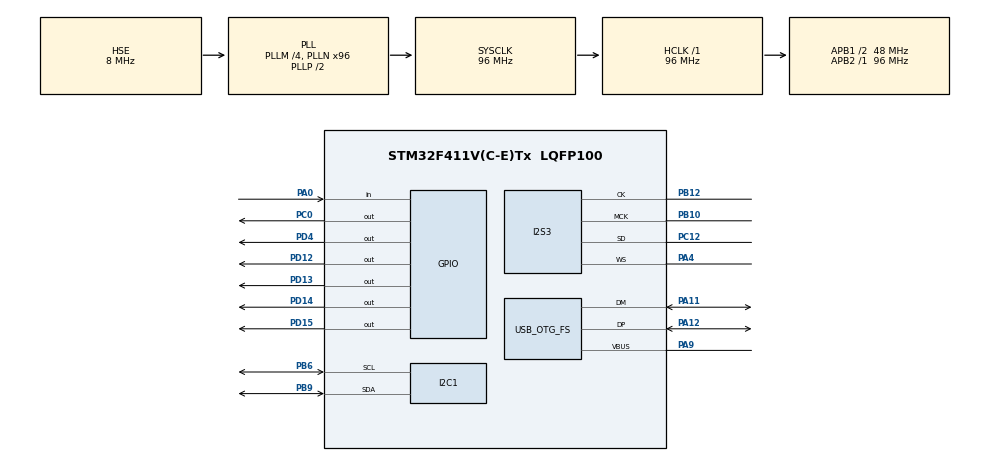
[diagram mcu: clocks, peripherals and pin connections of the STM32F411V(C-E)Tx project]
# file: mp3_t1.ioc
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Dma.Request0=SPI3_TX
Dma.SPI3_TX.0.Direction=DMA_MEMORY_TO_PERIPH
Dma.SPI3_TX.0.FIFOMode=DMA_FIFOMODE_ENABLE
Dma.SPI3_TX.0.FIFOThreshold=DMA_FIFO_THRESHOLD_FULL
Dma.SPI3_TX.0.Instance=DMA1_Stream5
Dma.SPI3_TX.0.MemBurst=DMA_MBURST_SINGLE
Dma.SPI3_TX.0.MemDataAlignment=DMA_MDATAALIGN_HALFWORD
Dma.SPI3_TX.0.MemInc=DMA_MINC_ENABLE
Dma.SPI3_TX.0.Mode=DMA_CIRCULAR
Dma.SPI3_TX.0.PeriphBurst=DMA_PBURST_SINGLE
Dma.SPI3_TX.0.PeriphDataAlignment=DMA_PDATAALIGN_HALFWORD
Dma.SPI3_TX.0.PeriphInc=DMA_PINC_DISABLE
Dma.SPI3_TX.0.Priority=DMA_PRIORITY_LOW
I2S3.AudioFreq=I2S_AUDIOFREQ_44K
I2S3.ErrorAudioFreq=-0.12 %
I2S3.FullDuplexMode=I2S_FULLDUPLEXMODE_DISABLE
I2S3.Instance=SPI$Index
I2S3.RealAudioFreq=43.945 KHz
I2S3.VirtualMode=I2S_MODE_MASTER
Mcu.Family=STM32F4
Mcu.Name=STM32F411V(C-E)Tx
Mcu.Package=LQFP100
NVIC.DMA1_Stream5_IRQn=true\:0\:0\:false\:false\:true\:false\:true
NVIC.OTG_FS_IRQn=true\:0\:0\:false\:false\:true\:false\:true
NVIC.PriorityGroup=NVIC_PRIORITYGROUP_4
PA0-WKUP.Signal=GPIO_Input
PA11.Mode=Host_Only
PA11.Signal=USB_OTG_FS_DM
PA12.Mode=Host_Only
PA12.Signal=USB_OTG_FS_DP
PA4.Mode=Half_Duplex_Master
PA4.Signal=I2S3_WS
PA9.Mode=Activate_VBUS
PA9.Signal=USB_OTG_FS_VBUS
PB10.Mode=Master_Clock_Activated
PB10.Signal=I2S3_MCK
PB12.Mode=Half_Duplex_Master
PB12.Signal=I2S3_CK
PB6.Mode=I2C
PB6.Signal=I2C1_SCL
PB9.Mode=I2C
PB9.Signal=I2C1_SDA
PC0.Signal=GPIO_Output
PC12.Mode=Half_Duplex_Master
PC12.Signal=I2S3_SD
PD12.Signal=GPIO_Output
PD13.Signal=GPIO_Output
PD14.Signal=GPIO_Output
PD15.Signal=GPIO_Output
PD4.Signal=GPIO_Output
PH0\ -\ OSC_IN.Mode=HSE-External-Oscillator
PH0\ -\ OSC_IN.Signal=RCC_OSC_IN
PH1\ -\ OSC_OUT.Mode=HSE-External-Oscillator
PH1\ -\ OSC_OUT.Signal=RCC_OSC_OUT
ProjectManager.HeapSize=0x2000
ProjectManager.StackSize=0x2000
ProjectManager.TargetToolchain=SW4STM32
RCC.48MHZClocksFreq_Value=48000000
RCC.AHBFreq_Value=96000000
RCC.APB1CLKDivider=RCC_HCLK_DIV2
RCC.APB1Freq_Value=48000000
RCC.APB1TimFreq_Value=96000000
RCC.APB2Freq_Value=96000000
RCC.APB2TimFreq_Value=96000000
RCC.CortexFreq_Value=96000000
RCC.HCLKFreq_Value=96000000
RCC.HSE_VALUE=8000000
RCC.HSI_VALUE=16000000
RCC.LSE_VALUE=32768
RCC.PLLI2SM=8
RCC.PLLI2SN=180
RCC.PLLI2SR=4
RCC.PLLM=4
RCC.PLLN=96
RCC.SYSCLKFreq_VALUE=96000000
RCC.SYSCLKSource=RCC_SYSCLKSOURCE_PLLCLK
RCC.VCOOutputFreq_Value=192000000
USB_HOST.USBH_HandleTypeDef=hUsbHostFS
USB_HOST.VirtualModeFS=Msc
USB_OTG_FS.VirtualMode=Host_Only
USB_OTG_FS.phy_itface=HCD_PHY_EMBEDDED
VP_FATFS_VS_USB.Mode=USB
VP_USB_HOST_VS_USB_HOST_MSC_FS.Mode=MSC_FS
board=custom

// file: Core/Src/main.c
/* USER CODE BEGIN Header */
/**
  ******************************************************************************
  * @file           : main.c
  * @brief          : Main program body
  ******************************************************************************
  * @attention
  *
  * <h2><center>&copy; Copyright (c) 2022 STMicroelectronics.
  * All rights reserved.</center></h2>
  *
  * This software component is licensed by ST under Ultimate Liberty license
  * SLA0044, the "License"; You may not use this file except in compliance with
  * the License. You may obtain a copy of the License at:
  *                             www.st.com/SLA0044
  *
  ******************************************************************************
  */
/* USER CODE END Header */
#include "main.h"
#include "fatfs.h"
#include "usb_host.h"

/* USER CODE BEGIN Includes */
#include "audioI2S.h"
#include "MY_CS43L22.h"
#include "wav_player.h"
/* USER CODE END Includes */

/* USER CODE BEGIN PTD */
extern ApplicationTypeDef Appli_state;
/* USER CODE END PTD */

/* USER CODE BEGIN PD */
#define FILE1 "ritika/music.wav"
/* USER CODE END PD */

I2C_HandleTypeDef hi2c1;

I2S_HandleTypeDef hi2s3;
DMA_HandleTypeDef hdma_spi3_tx;

void SystemClock_Config(void);
static void MX_GPIO_Init(void);
static void MX_DMA_Init(void);
static void MX_I2C1_Init(void);
static void MX_I2S3_Init(void);
void MX_USB_HOST_Process(void);

int main(void)
{

  /* MCU Configuration--------------------------------------------------------*/

  /* Reset of all peripherals, Initializes the Flash interface and the Systick. */
  HAL_Init();

  /* Configure the system clock */
  SystemClock_Config();

  /* Initialize all configured peripherals */
  MX_GPIO_Init();
  MX_DMA_Init();
  MX_I2C1_Init();
  MX_I2S3_Init();
  MX_FATFS_Init();
  MX_USB_HOST_Init();

  /* USER CODE BEGIN 2 */
  CS43_Init(hi2c1, MODE_I2S);
  CS43_SetVolume(150); /* 0 - 255 */
  CS43_Enable_RightLeft(CS43_RIGHT_LEFT);

  audioI2S_setHandle(&hi2s3);

  bool isSdCardMounted = 0;
  bool pauseResumeToggle = 0;
  /* USER CODE END 2 */

  /* Infinite loop */
  while (1)
  {
    MX_USB_HOST_Process();

    /* USER CODE BEGIN 3 */
    if(Appli_state == APPLICATION_START)
    {
    	HAL_GPIO_WritePin(GPIOD, GPIO_PIN_12, GPIO_PIN_RESET);
    }
    else if(Appli_state == APPLICATION_DISCONNECT)
    {
    	HAL_GPIO_WritePin(GPIOD, GPIO_PIN_12, GPIO_PIN_SET);
    }

    if(Appli_state == APPLICATION_READY)
    {
    	if(!isSdCardMounted)
    	{
    		f_mount(&USBHFatFS, (const TCHAR*)USBHPath, 0);
    		isSdCardMounted = 1;
    	}

    	if(HAL_GPIO_ReadPin(GPIOA, GPIO_PIN_0))
    	{
    	    HAL_GPIO_WritePin(GPIOD, GPIO_PIN_13, GPIO_PIN_SET);
    	    HAL_Delay(500);
    	    wavPlayer_fileSelect(FILE1);
    	    wavPlayer_play();

    	    while(wavPlayer_isFinished())
    	    {
        	    wavPlayer_process();
        	    if(HAL_GPIO_ReadPin(GPIOA, GPIO_PIN_0))
        	    {
        	    	pauseResumeToggle ^= 1;
        	    	if(pauseResumeToggle)
        	    	{
        	    		HAL_GPIO_WritePin(GPIOD, GPIO_PIN_14, GPIO_PIN_SET);
        	    		wavPlayer_pause();
        	    		HAL_Delay(200);
        	    	}
        	    	else
        	    	{
        	    		HAL_GPIO_WritePin(GPIOD, GPIO_PIN_14, GPIO_PIN_RESET);
        	    		HAL_Delay(1000);
        	    		if(HAL_GPIO_ReadPin(GPIOA, GPIO_PIN_0))
        	    		{
        	    			wavPlayer_stop();
        	    		}
        	    		else
        	    		{
        	    			wavPlayer_resume();
        	    		}
        	    	}
        	    }
    	    }
    	    HAL_GPIO_WritePin(GPIOD, GPIO_PIN_13, GPIO_PIN_RESET);
    	    HAL_Delay(1000);
    	}
    }
  }
  /* USER CODE END 3 */
}

void SystemClock_Config(void)
{
  RCC_OscInitTypeDef RCC_OscInitStruct = {0};
  RCC_ClkInitTypeDef RCC_ClkInitStruct = {0};

  /** Configure the main internal regulator output voltage
  */
  __HAL_RCC_PWR_CLK_ENABLE();
  __HAL_PWR_VOLTAGESCALING_CONFIG(PWR_REGULATOR_VOLTAGE_SCALE1);
  /** Initializes the RCC Oscillators according to the specified parameters
  * in the RCC_OscInitTypeDef structure.
  */
  RCC_OscInitStruct.OscillatorType = RCC_OSCILLATORTYPE_HSE;
  RCC_OscInitStruct.HSEState = RCC_HSE_ON;
  RCC_OscInitStruct.PLL.PLLState = RCC_PLL_ON;
  RCC_OscInitStruct.PLL.PLLSource = RCC_PLLSOURCE_HSE;
  RCC_OscInitStruct.PLL.PLLM = 4;
  RCC_OscInitStruct.PLL.PLLN = 96;
  RCC_OscInitStruct.PLL.PLLP = RCC_PLLP_DIV2;
  RCC_OscInitStruct.PLL.PLLQ = 4;
  if (HAL_RCC_OscConfig(&RCC_OscInitStruct) != HAL_OK)
  {
    Error_Handler();
  }
  /** Initializes the CPU, AHB and APB buses clocks
  */
  RCC_ClkInitStruct.ClockType = RCC_CLOCKTYPE_HCLK|RCC_CLOCKTYPE_SYSCLK
                              |RCC_CLOCKTYPE_PCLK1|RCC_CLOCKTYPE_PCLK2;
  RCC_ClkInitStruct.SYSCLKSource = RCC_SYSCLKSOURCE_PLLCLK;
  RCC_ClkInitStruct.AHBCLKDivider = RCC_SYSCLK_DIV1;
  RCC_ClkInitStruct.APB1CLKDivider = RCC_HCLK_DIV2;
  RCC_ClkInitStruct.APB2CLKDivider = RCC_HCLK_DIV1;

  if (HAL_RCC_ClockConfig(&RCC_ClkInitStruct, FLASH_LATENCY_3) != HAL_OK)
  {
    Error_Handler();
  }
}

static void MX_I2C1_Init(void)
{

  hi2c1.Instance = I2C1;
  hi2c1.Init.ClockSpeed = 100000;
  hi2c1.Init.DutyCycle = I2C_DUTYCYCLE_2;
  hi2c1.Init.OwnAddress1 = 0;
  hi2c1.Init.AddressingMode = I2C_ADDRESSINGMODE_7BIT;
  hi2c1.Init.DualAddressMode = I2C_DUALADDRESS_DISABLE;
  hi2c1.Init.OwnAddress2 = 0;
  hi2c1.Init.GeneralCallMode = I2C_GENERALCALL_DISABLE;
  hi2c1.Init.NoStretchMode = I2C_NOSTRETCH_DISABLE;
  if (HAL_I2C_Init(&hi2c1) != HAL_OK)
  {
    Error_Handler();
  }

}

static void MX_I2S3_Init(void)
{

  hi2s3.Instance = SPI3;
  hi2s3.Init.Mode = I2S_MODE_MASTER_TX;
  hi2s3.Init.Standard = I2S_STANDARD_PHILIPS;
  hi2s3.Init.DataFormat = I2S_DATAFORMAT_16B;
  hi2s3.Init.MCLKOutput = I2S_MCLKOUTPUT_ENABLE;
  hi2s3.Init.AudioFreq = I2S_AUDIOFREQ_44K;
  hi2s3.Init.CPOL = I2S_CPOL_LOW;
  hi2s3.Init.ClockSource = I2S_CLOCK_PLL;
  hi2s3.Init.FullDuplexMode = I2S_FULLDUPLEXMODE_DISABLE;
  if (HAL_I2S_Init(&hi2s3) != HAL_OK)
  {
    Error_Handler();
  }

}

static void MX_DMA_Init(void)
{

  /* DMA controller clock enable */
  __HAL_RCC_DMA1_CLK_ENABLE();

  /* DMA interrupt init */
  /* DMA1_Stream5_IRQn interrupt configuration */
  HAL_NVIC_SetPriority(DMA1_Stream5_IRQn, 0, 0);
  HAL_NVIC_EnableIRQ(DMA1_Stream5_IRQn);

}

static void MX_GPIO_Init(void)
{
  GPIO_InitTypeDef GPIO_InitStruct = {0};

  /* GPIO Ports Clock Enable */
  __HAL_RCC_GPIOH_CLK_ENABLE();
  __HAL_RCC_GPIOC_CLK_ENABLE();
  __HAL_RCC_GPIOA_CLK_ENABLE();
  __HAL_RCC_GPIOB_CLK_ENABLE();
  __HAL_RCC_GPIOD_CLK_ENABLE();

  /*Configure GPIO pin Output Level */
  HAL_GPIO_WritePin(GPIOC, GPIO_PIN_0, GPIO_PIN_RESET);

  /*Configure GPIO pin Output Level */
  HAL_GPIO_WritePin(GPIOD, GPIO_PIN_12|GPIO_PIN_13|GPIO_PIN_14|GPIO_PIN_15
                          |GPIO_PIN_4, GPIO_PIN_RESET);

  /*Configure GPIO pin : PC0 */
  GPIO_InitStruct.Pin = GPIO_PIN_0;
  GPIO_InitStruct.Mode = GPIO_MODE_OUTPUT_PP;
  GPIO_InitStruct.Pull = GPIO_NOPULL;
  GPIO_InitStruct.Speed = GPIO_SPEED_FREQ_LOW;
  HAL_GPIO_Init(GPIOC, &GPIO_InitStruct);

  /*Configure GPIO pin : PA0 */
  GPIO_InitStruct.Pin = GPIO_PIN_0;
  GPIO_InitStruct.Mode = GPIO_MODE_INPUT;
  GPIO_InitStruct.Pull = GPIO_NOPULL;
  HAL_GPIO_Init(GPIOA, &GPIO_InitStruct);

  /*Configure GPIO pins : PD12 PD13 PD14 PD15
                           PD4 */
  GPIO_InitStruct.Pin = GPIO_PIN_12|GPIO_PIN_13|GPIO_PIN_14|GPIO_PIN_15
                          |GPIO_PIN_4;
  GPIO_InitStruct.Mode = GPIO_MODE_OUTPUT_PP;
  GPIO_InitStruct.Pull = GPIO_NOPULL;
  GPIO_InitStruct.Speed = GPIO_SPEED_FREQ_LOW;
  HAL_GPIO_Init(GPIOD, &GPIO_InitStruct);

}

void Error_Handler(void)
{
  __disable_irq();
  while (1)
  {
  }
}

/************************ (C) COPYRIGHT STMicroelectronics *****END OF FILE****/
